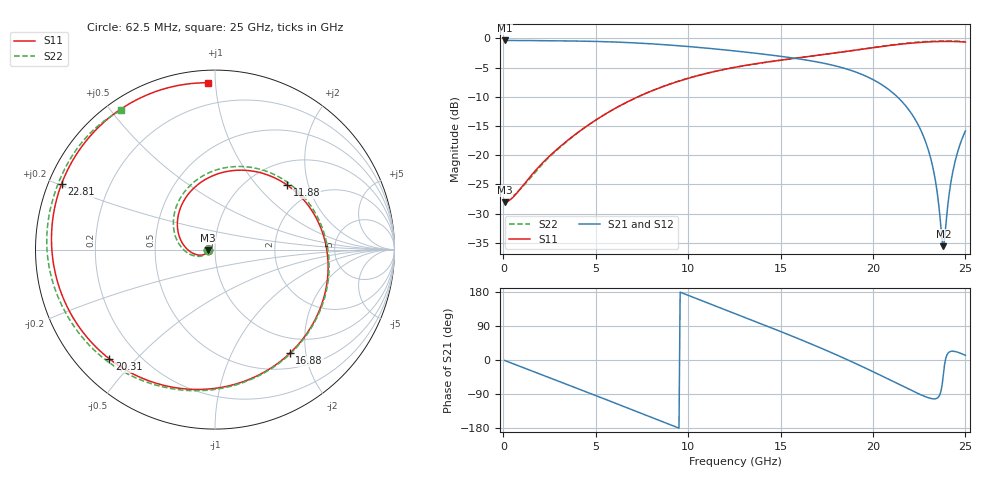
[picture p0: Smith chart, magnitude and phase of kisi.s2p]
! BV_vna_rf_hblb1_q050f25s: /Attenuator Amp Switches/RF_HBLB_PORT1 via F.Cu→In2.Cu at (144.901, 131.654)
! stackup: VNA from the board file and its kisi.json
! ports: 1 in, 2 out
! kisi-fdtd, conformal, dfine 0.05 mm, 707850 cells
# Hz S RI R 50
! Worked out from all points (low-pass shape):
!   400 points, 62.5 MHz to 25 GHz, reference 50 ohm
!   highest |S21| = -0.35 dB at 62.5 MHz (marker M1); lowest = -35.6 dB at 23.81 GHz (marker M2)
!   |S21| within 3 dB of the highest: start of sweep to 15.66 GHz
!   lowest |S11| = -28.1 dB at 62.5 MHz (marker M3), VSWR 1.08, Z = 46.2 - j0.13 ohm
!   |S11| at or under -10 dB: start of sweep to 7.281 GHz
!   |S22| runs from -27.9 to -0.4 dB; largest |S21 - S12| = 0.0025
!   S11 on the Smith chart (normalised r, x): 62.5 MHz: 0.92, -0.00; 11.88 GHz: 1.46, +1.48; 16.88 GHz: 0.73, -1.72; 20.31 GHz: 0.10, -0.42; 22.81 GHz: 0.04, +0.21; 25 GHz: 0.07, +0.95
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6.25e7  -0.0394 -0.00141  0.9601 -0.0196  0.9591 -0.0196  -0.0404 -0.00145
1.9375e9  -0.0742 -0.0305  0.7716 -0.5658  0.7725 -0.5654  -0.07 -0.0347
3.125e9  -0.1187 -0.0225  0.4982 -0.8122  0.4985 -0.8129  -0.114 -0.0351
4.25e9  -0.1656 0.0134  0.1699 -0.9321  0.1692 -0.9323  -0.1659 -0.00878
6.125e9  -0.2097 0.1467  -0.3981 -0.8405  -0.3978 -0.8401  -0.2297 0.1127
8.375e9  -0.0976 0.3606  -0.8281 -0.3287  -0.8282 -0.329  -0.1536 0.3413
1.00625e10  0.1215 0.442  -0.8364 0.1552  -0.8364 0.1555  0.0571 0.4562
1.1875e10  0.4036 0.3584  -0.5663 0.5655  -0.5661 0.5652  0.3588 0.4035
1.25625e10  0.4963 0.2747  -0.413 0.6615  -0.4131 0.6613  0.4636 0.3259
1.45625e10  0.6303 -0.0935  0.0787 0.7129  0.0787 0.7132  0.6342 -0.0463
1.66875e10  0.451 -0.543  0.4794 0.4255  0.4794 0.425  0.4767 -0.5194
1.6875e10  0.417 -0.5774  0.5006 0.3876  0.5006 0.3871  0.444 -0.5559
1.875e10  -0.0742 -0.7789  0.5358 -0.0216  0.5356 -0.0211  -0.021 -0.7817
2.03125e10  -0.5886 -0.6087  0.3278 -0.257  0.3285 -0.2576  -0.5053 -0.6829
2.0875e10  -0.7442 -0.449  0.2259 -0.2835  0.226 -0.2844  -0.6647 -0.5679
2.1875e10  -0.9032 -0.0566  0.0637 -0.244  0.0625 -0.2445  -0.8716 -0.2706
2.28125e10  -0.8546 0.3669  -0.0149 -0.134  -0.0151 -0.1323  -0.9367 0.0816
2.3375e10  -0.7231 0.5992  -0.0131 -0.0594  -0.0119 -0.0586  -0.8992 0.2951
2.38125e10  -0.5735 0.7476  0.0135 -0.00977  0.0145 -0.00972  -0.8369 0.4497
2.4125e10  -0.4465 0.8297  0.0438 0.0168  0.0448 0.0168  -0.7749 0.5535
2.43125e10  -0.3641 0.8679  0.0655 0.0282  0.0668 0.0281  -0.7298 0.6118
2.5e10  -0.0416 0.9297  0.1577 0.0346  0.1578 0.032  -0.5221 0.7763
